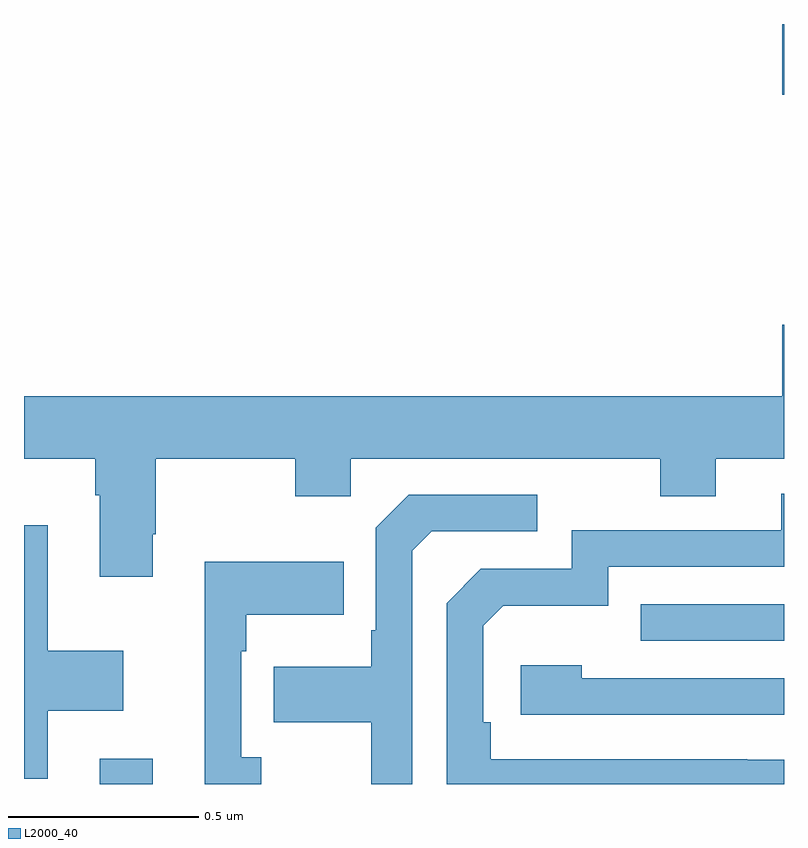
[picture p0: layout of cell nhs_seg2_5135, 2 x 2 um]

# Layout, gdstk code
import gdstk
lib = gdstk.Library(unit=1e-6, precision=1e-09)
def R(c, l, rs):  # rectangles x0, y0, x1, y1
    for r in rs: c.add(gdstk.rectangle(r[:2], r[2:], *l))
def P(c, l, *ps):  # polygons
    for p in ps: c.add(gdstk.Polygon(p, *l))
L2000_40 = (2000, 40)

nhs_seg2_5135 = lib.new_cell('nhs_seg2_5135')
R(nhs_seg2_5135, L2000_40, [(175.199,626.8,175.339,626.866), (176.623,627.177,177,627.273), (176.996,628.614,177,628.8)])
P(nhs_seg2_5135, L2000_40, [(175.339,627.457),(175.347,627.457),(175.347,627.656),(175.714,627.656),(175.714,627.557),(175.86,627.557),(175.86,627.656),(176.674,627.656),(176.674,627.557),(176.821,627.557),(176.821,627.656),(177,627.656),(177,628.009),(176.996,628.009),(176.996,627.82),(175,627.82),(175,627.656),(175.187,627.656),(175.187,627.56),(175.199,627.56),(175.199,627.345),(175.339,627.345)],
  [(177,626.864),(176.903,626.864),(176.903,626.865),(176.228,626.865),(176.228,626.962),(176.208,626.962),(176.208,627.216),(176.261,627.269),(176.538,627.269),(176.538,627.372),(177,627.372),(177,627.564),(176.993,627.564),(176.993,627.468),(176.442,627.468),(176.442,627.366),(176.202,627.366),(176.112,627.276),(176.112,626.8),(177,626.8)],
  [(176.022,627.414),(176.073,627.465),(176.35,627.465),(176.35,627.561),(176.013,627.561),(175.926,627.474),(175.926,627.205),(175.914,627.205),(175.914,627.109),(175.657,627.109),(175.657,626.962),(175.914,626.962),(175.914,626.8),(176.022,626.8)],
  [(175.063,626.993),(175.261,626.993),(175.261,627.151),(175.063,627.151),(175.063,627.481),(175,627.481),(175,626.814),(175.063,626.814)],
  [(175.624,626.87),(175.572,626.87),(175.572,627.149),(175.585,627.149),(175.585,627.245),(175.841,627.245),(175.841,627.385),(175.475,627.385),(175.475,626.8),(175.624,626.8)],
  [(177,627.078),(176.468,627.078),(176.468,627.112),(176.307,627.112),(176.307,626.982),(177,626.982)])

lib.write_gds('nhs_seg2_5135.gds')
